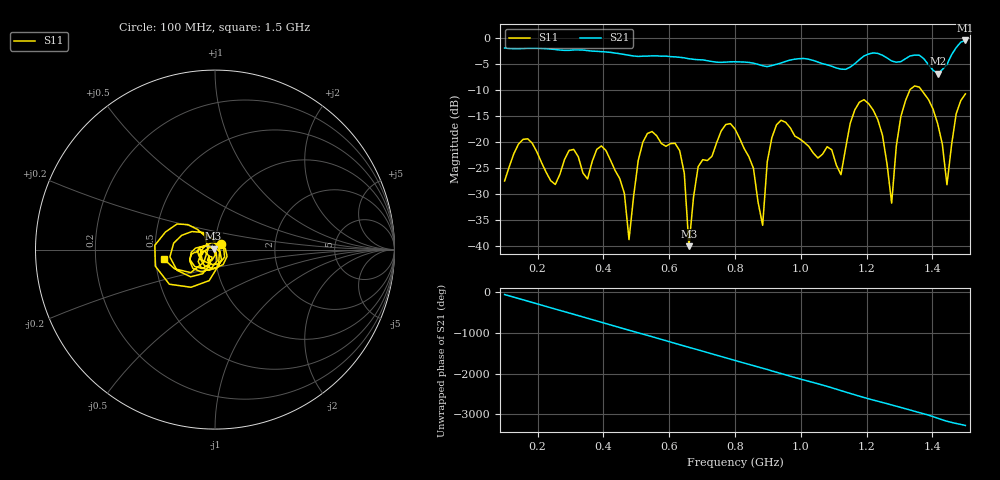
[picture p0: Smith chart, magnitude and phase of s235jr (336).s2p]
! NanoVNA-App
! Date: 2025-09-25 15:06:46
! Start: 100MHz Stop: 1,5GHz Points: 101
! S-Parameter data: F S11 S21 S12 S22
# Hz S RI R 50
!  Frequency  S11_Real  S11_Imag  S21_Real  S21_Imag  S12_Real  S12_Imag  S22_Real  S22_Imag
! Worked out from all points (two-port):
!   101 points, 100 MHz to 1.5 GHz, reference 50 ohm
!   highest |S21| = -0.52 dB at 1.5 GHz (marker M1); lowest = -6.9 dB at 1.416 GHz (marker M2)
!   |S21| within 3 dB of the highest: start of sweep to 495.2 MHz; 1.192 GHz to 1.252 GHz (60.88 MHz wide, 4.98 % of centre) (the widest 2 of 5)
!   lowest |S11| = -40.0 dB at 660 MHz (marker M3), VSWR 1.02, Z = 49.2 + j0.57 ohm
!   |S11| at or under -10 dB: start of sweep to 1.331 GHz; 1.366 GHz to end of sweep
!   S12 and S22 are empty: the file has one direction only
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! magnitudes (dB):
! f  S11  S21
! 100 MHz  -27.5  -2.0
! 170 MHz  -19.4  -2.0
! 338 MHz  -25.9  -2.4
! 408 MHz  -21.6  -2.7
! 478 MHz  -38.7  -3.4
! 520 MHz  -20.0  -3.5
! 576 MHz  -20.3  -3.5
! 632 MHz  -21.7  -3.7
! 660 MHz  -40.0  -4.0
! 688 MHz  -24.7  -4.2
! 800 MHz  -17.5  -4.6
! 884 MHz  -36.0  -5.4
! 926 MHz  -16.7  -5.1
! 1.038 GHz  -22.1  -4.4
! 1.122 GHz  -26.3  -6.0
! 1.192 GHz  -11.9  -3.5
! 1.248 GHz  -18.7  -3.4
! 1.276 GHz  -31.7  -4.5
! 1.332 GHz  -9.9  -3.5
! 1.416 GHz  -16.5  -6.9
! 1.444 GHz  -28.2  -5.1
! 1.5 GHz  -10.8  -0.5
